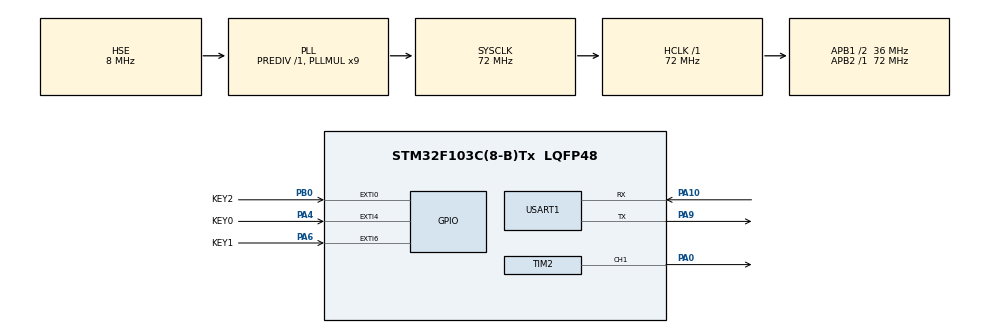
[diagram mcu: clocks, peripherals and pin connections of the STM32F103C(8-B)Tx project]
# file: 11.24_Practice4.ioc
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Mcu.Family=STM32F1
Mcu.Name=STM32F103C(8-B)Tx
Mcu.Package=LQFP48
NVIC.EXTI0_IRQn=true\:0\:0\:false\:false\:true\:true\:true\:true
NVIC.EXTI4_IRQn=true\:0\:0\:false\:false\:true\:true\:true\:true
NVIC.EXTI9_5_IRQn=true\:0\:0\:false\:false\:true\:true\:true\:true
NVIC.PriorityGroup=NVIC_PRIORITYGROUP_4
PA0-WKUP.Signal=S_TIM2_CH1_ETR
PA10.Mode=Asynchronous
PA10.Signal=USART1_RX
PA13.Mode=Serial_Wire
PA13.Signal=SYS_JTMS-SWDIO
PA14.Mode=Serial_Wire
PA14.Signal=SYS_JTCK-SWCLK
PA4.GPIO_Label=KEY0
PA4.GPIO_ModeDefaultEXTI=GPIO_MODE_IT_FALLING
PA4.GPIO_PuPd=GPIO_PULLUP
PA4.Signal=GPXTI4
PA6.GPIO_Label=KEY1
PA6.GPIO_ModeDefaultEXTI=GPIO_MODE_IT_FALLING
PA6.GPIO_PuPd=GPIO_PULLUP
PA6.Signal=GPXTI6
PA9.Mode=Asynchronous
PA9.Signal=USART1_TX
PB0.GPIO_Label=KEY2
PB0.GPIO_ModeDefaultEXTI=GPIO_MODE_IT_FALLING
PB0.GPIO_PuPd=GPIO_PULLUP
PB0.Signal=GPXTI0
PD0-OSC_IN.Mode=HSE-External-Oscillator
PD0-OSC_IN.Signal=RCC_OSC_IN
PD1-OSC_OUT.Mode=HSE-External-Oscillator
PD1-OSC_OUT.Signal=RCC_OSC_OUT
ProjectManager.HeapSize=0x200
ProjectManager.StackSize=0x400
ProjectManager.TargetToolchain=STM32CubeIDE
RCC.AHBFreq_Value=72000000
RCC.APB1CLKDivider=RCC_HCLK_DIV2
RCC.APB1Freq_Value=36000000
RCC.APB1TimFreq_Value=72000000
RCC.APB2Freq_Value=72000000
RCC.APB2TimFreq_Value=72000000
RCC.HCLKFreq_Value=72000000
RCC.PLLMUL=RCC_PLL_MUL9
RCC.PLLSourceVirtual=RCC_PLLSOURCE_HSE
RCC.SYSCLKFreq_VALUE=72000000
RCC.SYSCLKSource=RCC_SYSCLKSOURCE_PLLCLK
RCC.USBFreq_Value=72000000
SH.S_TIM2_CH1_ETR.0=TIM2_CH1,PWM Generation1 CH1
TIM2.AutoReloadPreload=TIM_AUTORELOAD_PRELOAD_ENABLE
TIM2.Channel-PWM\ Generation1\ CH1=TIM_CHANNEL_1
TIM2.Period=19999
TIM2.Prescaler=71
TIM2.Pulse-PWM\ Generation1\ CH1=1500
USART1.VirtualMode=VM_ASYNC
VP_TIM2_VS_ClockSourceINT.Mode=Internal
board=custom

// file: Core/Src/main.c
/* USER CODE BEGIN Header */
/**
  ******************************************************************************
  * @file           : main.c
  * @brief          : Main program body
  ******************************************************************************
  * @attention
  *
  * Copyright (c) 2026 STMicroelectronics.
  * All rights reserved.
  *
  * This software is licensed under terms that can be found in the LICENSE file
  * in the root directory of this software component.
  * If no LICENSE file comes with this software, it is provided AS-IS.
  *
  ******************************************************************************
  */
/* USER CODE END Header */
#include "main.h"
#include "tim.h"
#include "usart.h"
#include "gpio.h"

/* USER CODE BEGIN Includes */
#include "Servo.h"
#include <stdio.h>
#include <string.h>
#include "OLED.h"
#include "Key.h"
/* USER CODE END Includes */

/* USER CODE BEGIN PD */
#define SERVO_REFRESH_INTERVAL_MS      1000
/* USER CODE END PD */

/* USER CODE BEGIN PV */

//key function
//key0（1自动模式 0按键模式）
//key1（按键模式下按下+15.0f）
//key2（按键模式下按下-15.0f）
Key_T key0 = {0 , 0 , KEY0_GPIO_Port, KEY0_Pin, 1};
Key_T key1 = {0 , 0 , KEY1_GPIO_Port, KEY1_Pin, 0};
Key_T key2 = {0 , 0 , KEY2_GPIO_Port, KEY2_Pin, 0};

//servo
static const float angle_list[] = {0.0f, 45.0f, 90.0f, 135.0f, 180.0f};
static uint8_t angle_idx = 0;
static uint32_t t_servo_last = 0;
float g_angle = 0.0f;

//oled
uint32_t t_oled_last = 0;
uint8_t oled_buffer[60] = {0};

//usart
uint8_t tx_buffer[60] = {0};
/* USER CODE END PV */

void SystemClock_Config(void);

int main(void)
{

  /* MCU Configuration--------------------------------------------------------*/

  /* Reset of all peripherals, Initializes the Flash interface and the Systick. */
  HAL_Init();

  /* Configure the system clock */
  SystemClock_Config();

  /* Initialize all configured peripherals */
  MX_GPIO_Init();
  MX_TIM2_Init();
  MX_USART1_UART_Init();
  /* USER CODE BEGIN 2 */

  HAL_TIM_PWM_Start(&htim2, TIM_CHANNEL_1);

  OLED_Init();
  t_oled_last = HAL_GetTick();

  t_servo_last = HAL_GetTick();
  /* USER CODE END 2 */

  /* Infinite loop */
  /* USER CODE BEGIN WHILE */
  while (1)
  {
    if (key0.tri && HAL_GetTick() - key0.t_last > KEY_DEBOUNCE_MS)
    {
      key0.tri = 0;
      if (HAL_GPIO_ReadPin(key0.port, key0.pin) == GPIO_PIN_RESET)
      {
        key0.function = !key0.function;
      }
    }

    switch (key0.function)
    {
      case 0:
      if (key1.tri && HAL_GetTick() - key1.t_last > KEY_DEBOUNCE_MS)
      {
        key1.tri = 0;
        if (HAL_GPIO_ReadPin(key1.port, key1.pin) == GPIO_PIN_RESET)
        {
          //角度限幅
          g_angle += 15.0f;
          if (g_angle > SERVO_MAX_DEG) g_angle = SERVO_MAX_DEG;

          //舵机业务
          uint16_t temp_ccr = Servo_SetAngle(g_angle);

          //oled&串口调试
          Servo_ShowOnOLED(g_angle, temp_ccr);
          printf("Target=%3d  CCR=%4d  Pulse=%d.%03dms\r\n",
          (int)g_angle, temp_ccr, temp_ccr / 1000, temp_ccr % 1000);
        }
      }

      if (key2.tri && HAL_GetTick() - key2.t_last > KEY_DEBOUNCE_MS)
      {
        key2.tri = 0;
        if (HAL_GPIO_ReadPin(key2.port, key2.pin) == GPIO_PIN_RESET)
        {
          //角度限幅
          g_angle -= 15.0f;
          if (g_angle < SERVO_MIN_DEG) g_angle = SERVO_MIN_DEG;

          //舵机业务
          uint16_t temp_ccr = Servo_SetAngle(g_angle);

          //oled&串口调试
          Servo_ShowOnOLED(g_angle, temp_ccr);
          printf("Target=%3d  CCR=%4d  Pulse=%d.%03dms\r\n",
          (int)g_angle, temp_ccr, temp_ccr / 1000, temp_ccr % 1000);
        }
      }

      break;

      case 1:
      if (HAL_GetTick() - t_servo_last > SERVO_REFRESH_INTERVAL_MS)
      {
        //时间戳更新
        t_servo_last = HAL_GetTick();

        //舵机业务
        g_angle = angle_list[angle_idx];
        angle_idx = (angle_idx + 1) % (sizeof(angle_list) / sizeof(angle_list[0]));
        uint16_t temp_ccr = Servo_SetAngle(g_angle);

        //oled&串口调试
        Servo_ShowOnOLED(g_angle, temp_ccr);
        printf("Target=%3d  CCR=%4d  Pulse=%d.%03dms\r\n",
        (int)g_angle, temp_ccr, temp_ccr / 1000, temp_ccr % 1000);

      }
      break;

      default:
      key0.function = 1;
      break;
    }
    /* USER CODE END WHILE */

  }
}

void SystemClock_Config(void)
{
  RCC_OscInitTypeDef RCC_OscInitStruct = {0};
  RCC_ClkInitTypeDef RCC_ClkInitStruct = {0};

  /** Initializes the RCC Oscillators according to the specified parameters
  * in the RCC_OscInitTypeDef structure.
  */
  RCC_OscInitStruct.OscillatorType = RCC_OSCILLATORTYPE_HSE;
  RCC_OscInitStruct.HSEState = RCC_HSE_ON;
  RCC_OscInitStruct.HSEPredivValue = RCC_HSE_PREDIV_DIV1;
  RCC_OscInitStruct.HSIState = RCC_HSI_ON;
  RCC_OscInitStruct.PLL.PLLState = RCC_PLL_ON;
  RCC_OscInitStruct.PLL.PLLSource = RCC_PLLSOURCE_HSE;
  RCC_OscInitStruct.PLL.PLLMUL = RCC_PLL_MUL9;
  if (HAL_RCC_OscConfig(&RCC_OscInitStruct) != HAL_OK)
  {
    Error_Handler();
  }

  /** Initializes the CPU, AHB and APB buses clocks
  */
  RCC_ClkInitStruct.ClockType = RCC_CLOCKTYPE_HCLK|RCC_CLOCKTYPE_SYSCLK
                              |RCC_CLOCKTYPE_PCLK1|RCC_CLOCKTYPE_PCLK2;
  RCC_ClkInitStruct.SYSCLKSource = RCC_SYSCLKSOURCE_PLLCLK;
  RCC_ClkInitStruct.AHBCLKDivider = RCC_SYSCLK_DIV1;
  RCC_ClkInitStruct.APB1CLKDivider = RCC_HCLK_DIV2;
  RCC_ClkInitStruct.APB2CLKDivider = RCC_HCLK_DIV1;

  if (HAL_RCC_ClockConfig(&RCC_ClkInitStruct, FLASH_LATENCY_2) != HAL_OK)
  {
    Error_Handler();
  }
}

/* USER CODE BEGIN 4 */
void HAL_GPIO_EXTI_Callback(uint16_t GPIO_Pin)
{
  if (GPIO_Pin == key0.pin)
  {
    key0.tri = 1;
    key0.t_last = HAL_GetTick();
  }

  if (GPIO_Pin == key1.pin)
  {
    key1.tri = 1;
    key1.t_last = HAL_GetTick();
  }

  if (GPIO_Pin == key2.pin)
  {
    key2.tri = 1;
    key2.t_last = HAL_GetTick();
  }
}

int _write(int file, char *data, int len)
{
  (void)file;
  HAL_UART_Transmit(&huart1, (uint8_t *)data, len, 100);
  return len;
}
/* USER CODE END 4 */

void Error_Handler(void)
{
  __disable_irq();
  while (1)
  {
  }
}
